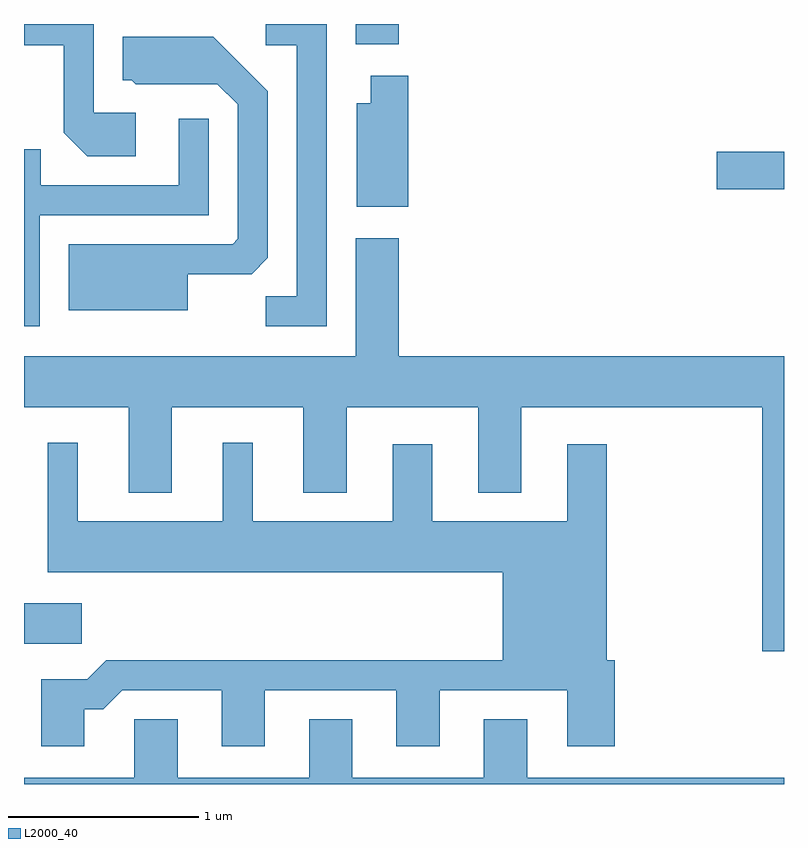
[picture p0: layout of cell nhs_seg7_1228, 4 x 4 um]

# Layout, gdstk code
import gdstk
lib = gdstk.Library(unit=1e-6, precision=1e-09)
def R(c, l, rs):  # rectangles x0, y0, x1, y1
    for r in rs: c.add(gdstk.rectangle(r[:2], r[2:], *l))
def P(c, l, *ps):  # polygons
    for p in ps: c.add(gdstk.Polygon(p, *l))
L2000_40 = (2000, 40)

nhs_seg7_1228 = lib.new_cell('nhs_seg7_1228')
R(nhs_seg7_1228, L2000_40, [(221.611,1792.991,221.914,1793.204), (225.256,1795.381,225.611,1795.579), (223.356,1796.146,223.584,1796.252)])
P(nhs_seg7_1228, L2000_40, [(223.204,1796.252),(222.883,1796.252),(222.883,1796.141),(223.046,1796.141),(223.046,1794.819),(222.883,1794.819),(222.883,1794.661),(223.204,1794.661)],
  [(222.199,1795.784),(221.979,1795.784),(221.979,1796.252),(221.611,1796.252),(221.611,1796.141),(221.821,1796.141),(221.821,1795.679),(221.944,1795.556),(222.199,1795.556)],
  [(222.474,1794.936),(222.809,1794.936),(222.894,1795.022),(222.894,1795.897),(222.607,1796.184),(222.131,1796.184),(222.131,1795.956),(222.179,1795.956),(222.199,1795.936),(222.629,1795.936),(222.736,1795.829),(222.736,1795.122),(222.709,1795.094),(221.846,1795.094),(221.846,1794.746),(222.474,1794.746)],
  [(223.634,1795.979),(223.436,1795.979),(223.436,1795.834),(223.361,1795.834),(223.361,1795.291),(223.634,1795.291)],
  [(221.694,1795.246),(222.584,1795.246),(222.584,1795.753),(222.426,1795.753),(222.426,1795.404),(221.699,1795.404),(221.699,1795.593),(221.611,1795.593),(221.611,1794.661),(221.694,1794.661)],
  [(225.611,1794.504),(223.584,1794.504),(223.584,1795.124),(223.356,1795.124),(223.356,1794.504),(221.611,1794.504),(221.611,1794.236),(222.161,1794.236),(222.161,1793.786),(222.389,1793.786),(222.389,1794.236),(223.081,1794.236),(223.081,1793.786),(223.309,1793.786),(223.309,1794.236),(224.001,1794.236),(224.001,1793.786),(224.229,1793.786),(224.229,1794.236),(225.496,1794.236),(225.496,1792.951),(225.611,1792.951)],
  [(221.929,1792.646),(222.027,1792.646),(222.127,1792.746),(222.651,1792.746),(222.651,1792.451),(222.879,1792.451),(222.879,1792.746),(223.571,1792.746),(223.571,1792.451),(223.799,1792.451),(223.799,1792.746),(224.471,1792.746),(224.471,1792.451),(224.719,1792.451),(224.719,1792.904),(224.679,1792.904),(224.679,1794.039),(224.471,1794.039),(224.471,1793.634),(223.759,1793.634),(223.759,1794.039),(223.551,1794.039),(223.551,1793.634),(222.814,1793.634),(222.814,1794.048),(222.656,1794.048),(222.656,1793.634),(221.894,1793.634),(221.894,1794.048),(221.736,1794.048),(221.736,1793.366),(224.131,1793.366),(224.131,1792.904),(222.044,1792.904),(221.944,1792.804),(221.701,1792.804),(221.701,1792.451),(221.929,1792.451)],
  [(225.611,1792.284),(224.259,1792.284),(224.259,1792.594),(224.031,1792.594),(224.031,1792.284),(223.339,1792.284),(223.339,1792.594),(223.111,1792.594),(223.111,1792.284),(222.419,1792.284),(222.419,1792.594),(222.191,1792.594),(222.191,1792.284),(221.611,1792.284),(221.611,1792.252),(225.611,1792.252)])

lib.write_gds('nhs_seg7_1228.gds')
